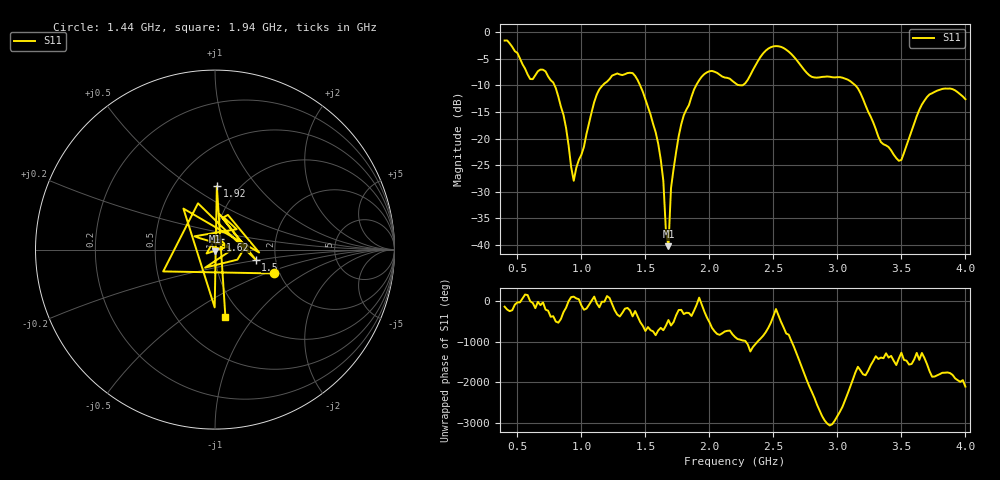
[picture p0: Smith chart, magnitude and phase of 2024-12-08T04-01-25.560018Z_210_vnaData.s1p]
!Created with skrf (http://scikit-rf.org).
# Hz S RI R 50.0
!freq ReS11 ImS11
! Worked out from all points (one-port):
!   181 points, 400 MHz to 4 GHz, reference 50 ohm
!   lowest |S11| = -40.2 dB at 1.68 GHz (marker M1), VSWR 1.02, Z = 49.7 - j0.938 ohm
!   |S11| at or under -10 dB: 789.9 MHz to 1.167 GHz (376.8 MHz wide, 38.5 % of centre); 1.458 GHz to 1.897 GHz (438.4 MHz wide, 26.1 % of centre); 3.14 GHz to end of sweep (the widest 3 of 4)
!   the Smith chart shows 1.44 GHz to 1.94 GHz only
!   S11 on the Smith chart (normalised r, x): 1.44 GHz: 1.86, -0.56; 1.5 GHz: 1.57, -0.19; 1.62 GHz: 1.05, +0.12; 1.92 GHz: 0.79, +0.64; 1.94 GHz: 0.83, -0.73
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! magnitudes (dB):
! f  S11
! 400 MHz  -1.6
! 600 MHz  -8.8
! 720 MHz  -7.4
! 860 MHz  -15.6
! 940 MHz  -27.9
! 1.12 GHz  -11.7
! 1.3 GHz  -8.0
! 1.44 GHz  -9.1
! 1.5 GHz  -12.6
! 1.62 GHz  -24.0
! 1.64 GHz  -27.9
! 1.66 GHz  -37.3
! 1.68 GHz  -40.2
! 1.7 GHz  -29.3
! 1.76 GHz  -19.6
! 1.92 GHz  -9.0
! 1.94 GHz  -8.4
! 2.2 GHz  -9.5
! 2.28 GHz  -9.6
! 2.48 GHz  -2.8
! 2.66 GHz  -4.6
! 2.8 GHz  -8.4
! 3.1 GHz  -9.2
! 3.34 GHz  -20.7
! 3.48 GHz  -24.2
! 3.56 GHz  -19.9
! 3.72 GHz  -11.7
! 4 GHz  -12.6
